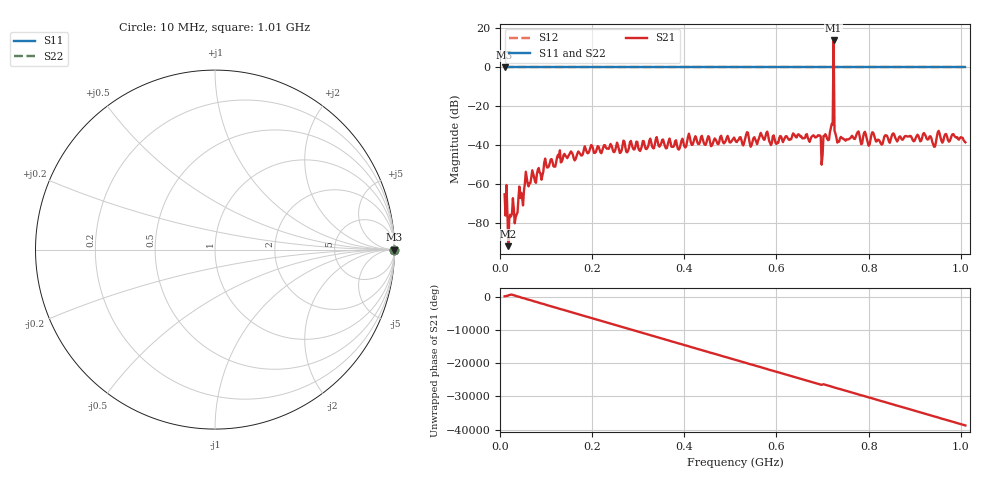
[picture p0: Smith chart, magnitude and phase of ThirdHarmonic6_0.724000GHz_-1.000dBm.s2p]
! 8/16/2025 12:13:21 AM
! C:\ANRITSUVNA\TEMP\TEMP.S2P
! CHANNEL.1
! TR.MEASUREMENT
! RAW.DATA
! RF.CORRECTION.OFF
! AVERAGING.OFF
! IF.BANDWIDTH: 5KHZ
! SWEEPTYPE:  FREQ.SWEEP(Linear)
! Reference Plane Port Info
! PORT:  PORT1  PORT2
! DISTANCE:  0  m  0  m
! TIME:  0  s  0  s
! PHASE.OFFSET:  0  deg.  0  deg.
! LOSS:  0  dB  0  dB
! REF.LOSS:  0  dB  0  dB
! REF.FREQ:  0  Hz  0  Hz
! Power Info
! POWER:  -20  dBm  -20  dBm
! EFF.POWER:  -20  dBm  -20  dBm
! SOURCE.ATTEN:  0  dB  0  dB
! TEST.ATTEN:  0  dB  0  dB
# GHZ S RI R 50.0
! FREQ.GHZ  S11RE  S11IM  S21RE  S21IM  S12RE  S12IM  S22RE  S22IM
!; PortSelection: Port_12
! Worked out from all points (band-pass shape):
!   501 points, 10 MHz to 1.01 GHz, reference 50 ohm
!   highest |S21| = 13.71 dB at 724 MHz (marker M1); lowest = -91.8 dB at 18 MHz (marker M2)
!   |S21| within 3 dB of the highest: 723.8606 MHz to 724.1296 MHz (269 kHz wide, 0.0372 % of centre)
!   lowest |S11| = 0.0 dB at 10 MHz (marker M3)
!   |S11| at or under -10 dB: nowhere
!   |S22| runs from 0.0 to 0.0 dB; largest |S21 - S12| = 4.4
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0.01  1 0  -0.000396 0.000385  1 0  1 0
0.018  1 0  1.43e-05 2.15e-05  1 0  1 0
0.034  1 0  4.7e-06 -0.000143  1 0  1 0
0.056  1 0  -0.000454 0.00204  1 0  1 0
0.09  1 0  -0.00112 0.000674  1 0  1 0
0.1  1 0  0.000367 0.00332  1 0  1 0
0.178  1 0  -0.00545 -0.000168  1 0  1 0
0.344  1 0  0.0045 -0.0087  1 0  1 0
0.51  1 0  -0.000679 0.0139  1 0  1 0
0.678  1 0  -0.0172 0.001  1 0  1 0
0.692  1 0  0.0144 -0.0106  1 0  1 0
0.7  1 0  -0.00541 -0.000692  1 0  1 0
0.718  1 0  0.0267 0.00634  1 0  1 0
0.72  1 0  0.00434 -0.0351  1 0  1 0
0.724  1 0  2.709 4.02  1 0  1 0
0.728  1 0  0.00131 -0.0198  1 0  1 0
0.73  1 0  -0.0156 -0.00243  1 0  1 0
0.844  1 0  0.00767 -0.00985  1 0  1 0
0.92  1 0  -0.0125 0.0163  1 0  1 0
0.942  1 0  0.0072 -0.00558  1 0  1 0
0.952  1 0  0.00433 -0.0229  1 0  1 0
1.01  1 0  -0.00198 0.0117  1 0  1 0
